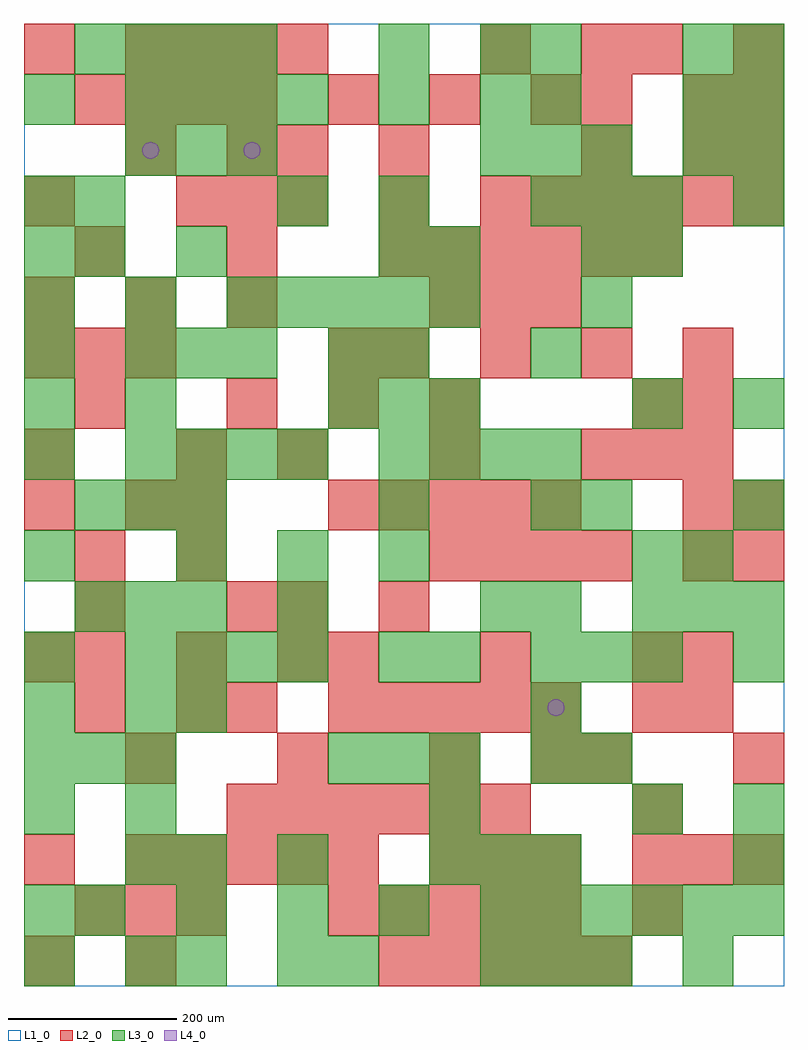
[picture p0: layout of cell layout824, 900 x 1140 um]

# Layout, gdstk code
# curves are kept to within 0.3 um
import gdstk
lib = gdstk.Library(unit=1e-6, precision=1e-09)
def R(c, l, rs):  # rectangles x0, y0, x1, y1
    for r in rs: c.add(gdstk.rectangle(r[:2], r[2:], *l))
def A(c, l, x, y, w, h, nx, ny, dx, dy):  # array of equal rectangles
    R(c, l, [(x+i*dx, y+j*dy, x+i*dx+w, y+j*dy+h) for i in range(nx) for j in range(ny)])
def P(c, l, *ps):  # polygons
    for p in ps: c.add(gdstk.Polygon(p, *l))
L1_0 = (1, 0)
L2_0 = (2, 0)
L3_0 = (3, 0)
L4_0 = (4, 0)

layout824 = lib.new_cell('layout824')
R(layout824, L1_0, [(0,0,900,1140)])
A(layout824, L2_0, 420, 0, 60, 60, 5, 1, 60, 0)
A(layout824, L2_0, 60, 60, 60, 60, 3, 1, 60, 0)
A(layout824, L2_0, 360, 60, 60, 60, 5, 3, 60, 240)
A(layout824, L2_0, 720, 60, 60, 60, 1, 3, 0, 120)
A(layout824, L2_0, 120, 120, 60, 60, 5, 1, 60, 0)
A(layout824, L2_0, 480, 120, 60, 60, 3, 2, 60, 660)
A(layout824, L2_0, 720, 120, 60, 60, 3, 1, 60, 0)
A(layout824, L2_0, 240, 180, 60, 60, 6, 1, 60, 0)
A(layout824, L2_0, 120, 240, 60, 60, 3, 1, 180, 0)
A(layout824, L2_0, 60, 360, 60, 60, 3, 1, 120, 0)
A(layout824, L2_0, 360, 360, 60, 60, 3, 1, 180, 0)
A(layout824, L2_0, 180, 480, 60, 60, 1, 3, 0, 60)
A(layout824, L2_0, 480, 480, 60, 60, 4, 1, 60, 0)
A(layout824, L2_0, 780, 480, 60, 60, 1, 4, 0, 60)
A(layout824, L2_0, 300, 600, 60, 60, 3, 1, 180, 0)
A(layout824, L2_0, 240, 660, 60, 60, 3, 1, 120, 0)
A(layout824, L2_0, 0, 720, 60, 60, 3, 1, 60, 0)
A(layout824, L2_0, 420, 720, 60, 60, 4, 1, 120, 0)
A(layout824, L2_0, 0, 780, 60, 60, 3, 1, 120, 0)
A(layout824, L2_0, 60, 840, 60, 60, 3, 1, 180, 0)
A(layout824, L2_0, 480, 840, 60, 60, 5, 1, 60, 0)
A(layout824, L2_0, 180, 900, 60, 60, 3, 1, 60, 0)
A(layout824, L2_0, 540, 900, 60, 60, 6, 1, 60, 0)
A(layout824, L2_0, 660, 960, 60, 60, 1, 3, 0, 60)
A(layout824, L2_0, 840, 960, 60, 60, 1, 3, 0, 60)
A(layout824, L2_0, 60, 1020, 60, 60, 4, 1, 60, 0)
A(layout824, L2_0, 360, 1020, 60, 60, 3, 1, 120, 0)
A(layout824, L2_0, 120, 1080, 60, 60, 4, 1, 60, 0)
R(layout824, L2_0, [(0,0,60,60), (120,0,180,60), (0,120,60,180), (600,240,660,300), (660,240,720,300), (840,240,900,300), (60,300,120,360), (180,300,240,360), (240,300,300,360), (780,300,840,360), (0,360,60,420), (780,360,840,420), (60,420,120,480), (240,420,300,480), (300,420,360,480), (420,420,480,480), (60,480,120,540), (840,480,900,540), (0,540,60,600), (120,540,180,600), (840,540,900,600), (0,600,60,660), (720,600,780,660), (60,660,120,720), (720,660,780,720), (360,720,420,780), (0,900,60,960), (420,900,480,960), (120,960,180,1020), (240,960,300,1020), (300,960,360,1020), (420,960,480,1020), (780,960,840,1020), (780,1020,840,1080), (0,1080,60,1140), (540,1080,600,1140), (720,1080,780,1140)])
A(layout824, L3_0, 540, 0, 60, 60, 3, 2, 60, 960)
A(layout824, L3_0, 780, 0, 60, 60, 1, 3, 0, 480)
A(layout824, L3_0, 0, 60, 60, 60, 1, 3, 0, 120)
A(layout824, L3_0, 60, 60, 60, 60, 5, 1, 120, 0)
A(layout824, L3_0, 600, 60, 60, 60, 5, 1, 60, 0)
A(layout824, L3_0, 480, 120, 60, 60, 3, 1, 60, 0)
A(layout824, L3_0, 840, 180, 60, 60, 1, 3, 0, 180)
A(layout824, L3_0, 0, 240, 60, 60, 3, 1, 60, 0)
A(layout824, L3_0, 360, 240, 60, 60, 3, 2, 60, 420)
A(layout824, L3_0, 600, 300, 60, 60, 1, 3, 0, 120)
A(layout824, L3_0, 0, 360, 60, 60, 1, 3, 0, 120)
A(layout824, L3_0, 120, 360, 60, 60, 4, 2, 60, 240)
A(layout824, L3_0, 420, 360, 60, 60, 1, 3, 0, 180)
A(layout824, L3_0, 600, 360, 60, 60, 3, 2, 60, 540)
A(layout824, L3_0, 60, 420, 60, 60, 3, 2, 60, 120)
A(layout824, L3_0, 720, 420, 60, 60, 3, 1, 60, 0)
A(layout824, L3_0, 180, 480, 60, 60, 3, 1, 120, 0)
A(layout824, L3_0, 720, 480, 60, 60, 1, 3, 0, 180)
A(layout824, L3_0, 420, 600, 60, 60, 4, 1, 60, 0)
A(layout824, L3_0, 120, 720, 60, 60, 3, 2, 60, 240)
A(layout824, L3_0, 0, 780, 60, 60, 3, 1, 120, 0)
A(layout824, L3_0, 300, 780, 60, 60, 4, 1, 60, 0)
A(layout824, L3_0, 840, 900, 60, 60, 1, 4, 0, 60)
A(layout824, L3_0, 120, 1020, 60, 60, 4, 1, 60, 0)
A(layout824, L3_0, 60, 1080, 60, 60, 4, 1, 60, 0)
R(layout824, L3_0, [(0,0,60,60), (120,0,180,60), (180,0,240,60), (300,0,360,60), (360,0,420,60), (120,120,180,180), (180,120,240,180), (300,120,360,180), (840,120,900,180), (120,180,180,240), (480,180,540,240), (720,180,780,240), (600,240,660,300), (660,240,720,300), (120,300,180,360), (180,300,240,360), (480,360,540,420), (300,420,360,480), (540,420,600,480), (660,540,720,600), (0,660,60,720), (120,660,180,720), (840,660,900,720), (0,720,60,780), (360,720,420,780), (600,720,660,780), (660,780,720,840), (0,840,60,900), (60,840,120,900), (180,840,240,900), (420,840,480,900), (480,840,540,900), (660,840,720,900), (0,900,60,960), (60,900,120,960), (300,900,360,960), (420,900,480,960), (0,1020,60,1080), (420,1020,480,1080), (540,1020,600,1080), (600,1020,660,1080), (780,1020,840,1080), (420,1080,480,1140), (540,1080,600,1140), (600,1080,660,1140), (780,1080,840,1140)])
P(layout824, L4_0, [(160,990),(159.239,993.827),(157.071,997.071),(153.827,999.239),(150,1000),(146.173,999.239),(142.929,997.071),(140.761,993.827),(140,990),(140.761,986.173),(142.929,982.929),(146.173,980.761),(150,980),(153.827,980.761),(157.071,982.929),(159.239,986.173)],
  [(280,990),(279.239,993.827),(277.071,997.071),(273.827,999.239),(270,1000),(266.173,999.239),(262.929,997.071),(260.761,993.827),(260,990),(260.761,986.173),(262.929,982.929),(266.173,980.761),(270,980),(273.827,980.761),(277.071,982.929),(279.239,986.173)],
  [(640,330),(639.239,333.827),(637.071,337.071),(633.827,339.239),(630,340),(626.173,339.239),(622.929,337.071),(620.761,333.827),(620,330),(620.761,326.173),(622.929,322.929),(626.173,320.761),(630,320),(633.827,320.761),(637.071,322.929),(639.239,326.173)])

lib.write_gds('layout824.gds')
